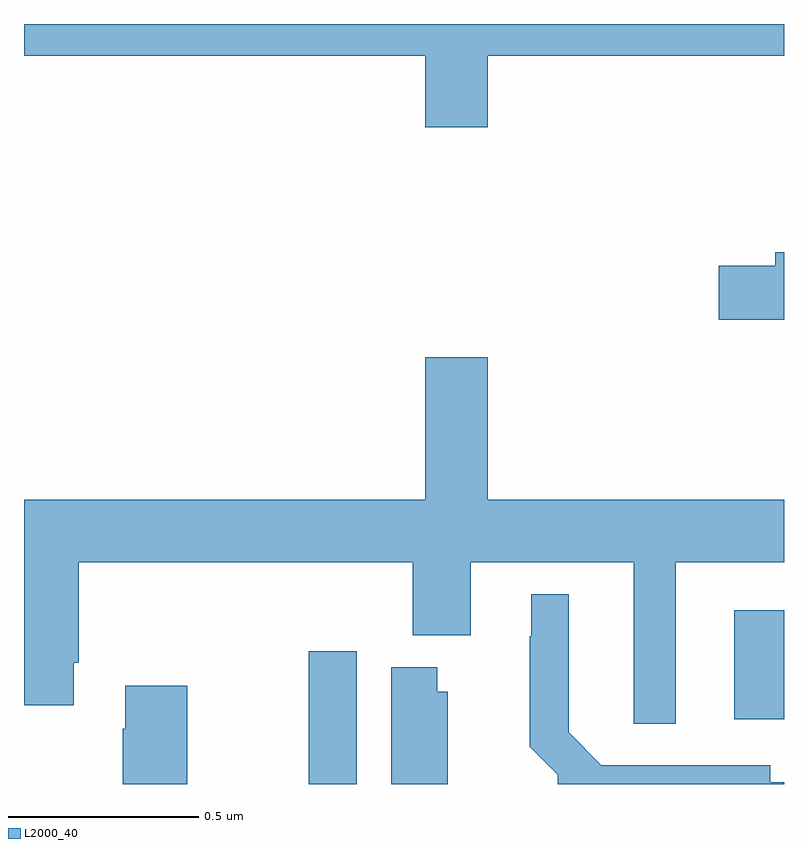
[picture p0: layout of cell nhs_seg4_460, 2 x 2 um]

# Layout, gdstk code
import gdstk
lib = gdstk.Library(unit=1e-6, precision=1e-09)
def R(c, l, rs):  # rectangles x0, y0, x1, y1
    for r in rs: c.add(gdstk.rectangle(r[:2], r[2:], *l))
def P(c, l, *ps):  # polygons
    for p in ps: c.add(gdstk.Polygon(p, *l))
L2000_40 = (2000, 40)

nhs_seg4_460 = lib.new_cell('nhs_seg4_460')
R(nhs_seg4_460, L2000_40, [(116.749,798.9,116.875,799.249), (117.869,799.071,118,799.357)])
P(nhs_seg4_460, L2000_40, [(117.22,800.816),(118,800.816),(118,800.9),(116,800.9),(116,800.816),(117.056,800.816),(117.056,800.628),(117.22,800.628)],
  [(118,800.3),(117.977,800.3),(117.977,800.264),(117.828,800.264),(117.828,800.122),(118,800.122)],
  [(117.715,799.484),(118,799.484),(118,799.648),(117.22,799.648),(117.22,800.023),(117.056,800.023),(117.056,799.648),(116,799.648),(116,799.107),(116.131,799.107),(116.131,799.219),(116.144,799.219),(116.144,799.484),(117.023,799.484),(117.023,799.292),(117.175,799.292),(117.175,799.484),(117.605,799.484),(117.605,799.059),(117.715,799.059)],
  [(118,798.904),(117.964,798.904),(117.964,798.949),(117.519,798.949),(117.433,799.036),(117.433,799.399),(117.335,799.399),(117.335,799.289),(117.331,799.289),(117.331,798.998),(117.405,798.924),(117.405,798.9),(118,798.9)],
  [(117.115,799.143),(117.088,799.143),(117.088,799.207),(116.966,799.207),(116.966,798.9),(117.115,798.9)],
  [(116.43,799.159),(116.267,799.159),(116.267,799.046),(116.26,799.046),(116.26,798.9),(116.43,798.9)])

lib.write_gds('nhs_seg4_460.gds')
